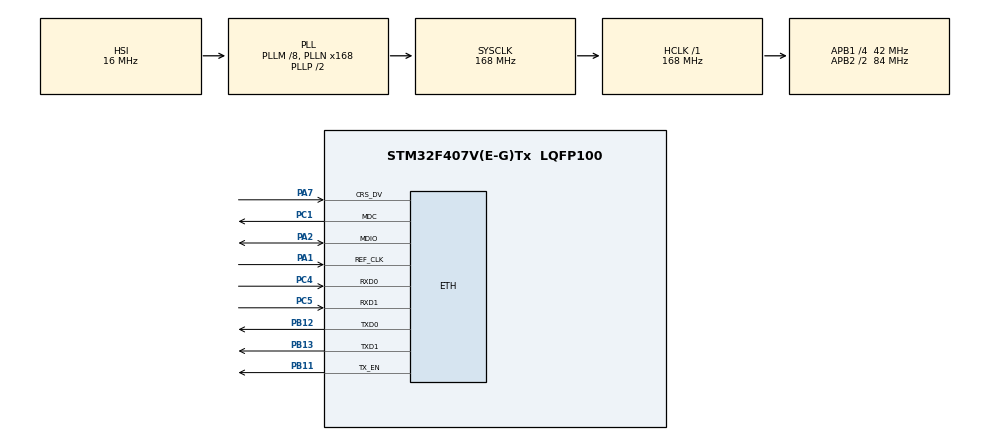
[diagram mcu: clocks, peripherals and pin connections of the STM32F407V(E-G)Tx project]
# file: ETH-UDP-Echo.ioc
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ETH.AutoNegotiation=ETH_AUTONEGOTIATION_DISABLE
ETH.MediaInterface=ETH_MEDIA_INTERFACE_RMII
ETH.PHY_Name_RMII=DP83848_PHY_ADDRESS
LWIP.GATEWAY_ADDRESS=192.168.100.001
LWIP.IP_ADDRESS=192.168.100.200
LWIP.LWIP_DHCP=0
LWIP.MEM_SIZE=10240
LWIP.NETMASK_ADDRESS=255.255.255.000
LWIP.PBUF_POOL_BUFSIZE=1534
LWIP.TCP_MSS=1460
LWIP.Version=v2.1.2_Cube
Mcu.Family=STM32F4
Mcu.Name=STM32F407V(E-G)Tx
Mcu.Package=LQFP100
NVIC.PriorityGroup=NVIC_PRIORITYGROUP_4
PA1.Mode=RMII
PA1.Signal=ETH_REF_CLK
PA2.Mode=RMII
PA2.Signal=ETH_MDIO
PA7.Mode=RMII
PA7.Signal=ETH_CRS_DV
PB11.Mode=RMII
PB11.Signal=ETH_TX_EN
PB12.Mode=RMII
PB12.Signal=ETH_TXD0
PB13.Mode=RMII
PB13.Signal=ETH_TXD1
PC1.Mode=RMII
PC1.Signal=ETH_MDC
PC4.Mode=RMII
PC4.Signal=ETH_RXD0
PC5.Mode=RMII
PC5.Signal=ETH_RXD1
ProjectManager.HeapSize=0x200
ProjectManager.StackSize=0x400
ProjectManager.TargetToolchain=MDK-ARM V5.27
RCC.48MHZClocksFreq_Value=84000000
RCC.AHBFreq_Value=168000000
RCC.APB1CLKDivider=RCC_HCLK_DIV4
RCC.APB1Freq_Value=42000000
RCC.APB1TimFreq_Value=84000000
RCC.APB2CLKDivider=RCC_HCLK_DIV2
RCC.APB2Freq_Value=84000000
RCC.APB2TimFreq_Value=168000000
RCC.CortexFreq_Value=168000000
RCC.HCLKFreq_Value=168000000
RCC.HSE_VALUE=25000000
RCC.HSI_VALUE=16000000
RCC.LSE_VALUE=32768
RCC.PLLM=8
RCC.PLLN=168
RCC.SYSCLKFreq_VALUE=168000000
RCC.SYSCLKSource=RCC_SYSCLKSOURCE_PLLCLK
RCC.VCOOutputFreq_Value=336000000
VP_LWIP_VS_Enabled.Mode=Enabled
board=custom

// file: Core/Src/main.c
/* USER CODE BEGIN Header */
/**
  ******************************************************************************
  * @file           : main.c
  * @brief          : Main program body
  ******************************************************************************
  * @attention
  *
  * <h2><center>&copy; Copyright (c) 2024 STMicroelectronics.
  * All rights reserved.</center></h2>
  *
  * This software component is licensed by ST under Ultimate Liberty license
  * SLA0044, the "License"; You may not use this file except in compliance with
  * the License. You may obtain a copy of the License at:
  *                             www.st.com/SLA0044
  *
  ******************************************************************************
  */
/* USER CODE END Header */
#include "main.h"
#include "lwip.h"
#include "gpio.h"

/* USER CODE BEGIN Includes */
#include "lwip/udp.h"
#include "lwip/ip.h"
#include "lwip/ip_addr.h"

#include <stdio.h>
#include <string.h>
/* USER CODE END Includes */

/* USER CODE BEGIN PV */
static const ip_addr_t REMOTE_IP = IPADDR4_INIT_BYTES(192, 168, 100, 100);
static const uint16_t  REMOTE_PORT = 8585;
static const uint16_t  LOCAL_PORT  = 12321;

static struct udp_pcb* udp;

/* USER CODE END PV */

void SystemClock_Config(void);
/* USER CODE BEGIN PFP */
void UDP_init(void);

void UDP_onReceive(void *arg, struct udp_pcb *pcb, struct pbuf *p, const ip_addr_t *addr, u16_t port);
/* USER CODE END PFP */

int main(void)
{
  /* USER CODE BEGIN 1 */
  char str[64];
  uint32_t nextSend = 100;
  /* USER CODE END 1 */

  /* MCU Configuration--------------------------------------------------------*/

  /* Reset of all peripherals, Initializes the Flash interface and the Systick. */
  HAL_Init();

  /* Configure the system clock */
  SystemClock_Config();

  /* Initialize all configured peripherals */
  MX_GPIO_Init();
  MX_LWIP_Init();
  /* USER CODE BEGIN 2 */
  UDP_init();
  /* USER CODE END 2 */

  /* Infinite loop */
  /* USER CODE BEGIN WHILE */
  while (1)
  {
    MX_LWIP_Process();
    /* USER CODE END WHILE */

    /* USER CODE BEGIN 3 */
    if (udp && nextSend <= HAL_GetTick()) {
      nextSend = HAL_GetTick() + 5000;

      struct pbuf* buf;
      uint32_t len = snprintf(str, sizeof(str) - 1, "Timestamp: %u\r\n", HAL_GetTick());

      buf = pbuf_alloc(PBUF_TRANSPORT, len, PBUF_RAM);
      if (buf) {
        memcpy(buf->payload, str, len);

        udp_sendto(udp, buf, &REMOTE_IP, REMOTE_PORT);
        pbuf_free(buf);
      }
    }

  }
  /* USER CODE END 3 */
}

void SystemClock_Config(void)
{
  RCC_OscInitTypeDef RCC_OscInitStruct = {0};
  RCC_ClkInitTypeDef RCC_ClkInitStruct = {0};

  /** Configure the main internal regulator output voltage
  */
  __HAL_RCC_PWR_CLK_ENABLE();
  __HAL_PWR_VOLTAGESCALING_CONFIG(PWR_REGULATOR_VOLTAGE_SCALE1);
  /** Initializes the RCC Oscillators according to the specified parameters
  * in the RCC_OscInitTypeDef structure.
  */
  RCC_OscInitStruct.OscillatorType = RCC_OSCILLATORTYPE_HSI;
  RCC_OscInitStruct.HSIState = RCC_HSI_ON;
  RCC_OscInitStruct.HSICalibrationValue = RCC_HSICALIBRATION_DEFAULT;
  RCC_OscInitStruct.PLL.PLLState = RCC_PLL_ON;
  RCC_OscInitStruct.PLL.PLLSource = RCC_PLLSOURCE_HSI;
  RCC_OscInitStruct.PLL.PLLM = 8;
  RCC_OscInitStruct.PLL.PLLN = 168;
  RCC_OscInitStruct.PLL.PLLP = RCC_PLLP_DIV2;
  RCC_OscInitStruct.PLL.PLLQ = 4;
  if (HAL_RCC_OscConfig(&RCC_OscInitStruct) != HAL_OK)
  {
    Error_Handler();
  }
  /** Initializes the CPU, AHB and APB buses clocks
  */
  RCC_ClkInitStruct.ClockType = RCC_CLOCKTYPE_HCLK|RCC_CLOCKTYPE_SYSCLK
                              |RCC_CLOCKTYPE_PCLK1|RCC_CLOCKTYPE_PCLK2;
  RCC_ClkInitStruct.SYSCLKSource = RCC_SYSCLKSOURCE_PLLCLK;
  RCC_ClkInitStruct.AHBCLKDivider = RCC_SYSCLK_DIV1;
  RCC_ClkInitStruct.APB1CLKDivider = RCC_HCLK_DIV4;
  RCC_ClkInitStruct.APB2CLKDivider = RCC_HCLK_DIV2;

  if (HAL_RCC_ClockConfig(&RCC_ClkInitStruct, FLASH_LATENCY_5) != HAL_OK)
  {
    Error_Handler();
  }
}

/* USER CODE BEGIN 4 */
void UDP_init(void) {
  udp = udp_new();

  if (udp) {
    err_t err = udp_bind(udp, IP_ADDR_ANY, LOCAL_PORT);

    if (err == ERR_OK) {
      udp_recv(udp, UDP_onReceive, NULL);
    }
    else {
      memp_free(MEMP_UDP_PCB, udp);
    }
  }
}

void UDP_onReceive(void *arg, struct udp_pcb *pcb, struct pbuf *p, const ip_addr_t *addr, u16_t port) {
  if (pcb && p) {
    // Echo packet
    udp_sendto(pcb, p, addr, port);
    pbuf_free(p);
  }
}
/* USER CODE END 4 */

void Error_Handler(void)
{
  __disable_irq();
  while (1)
  {
  }
}

/************************ (C) COPYRIGHT STMicroelectronics *****END OF FILE****/
